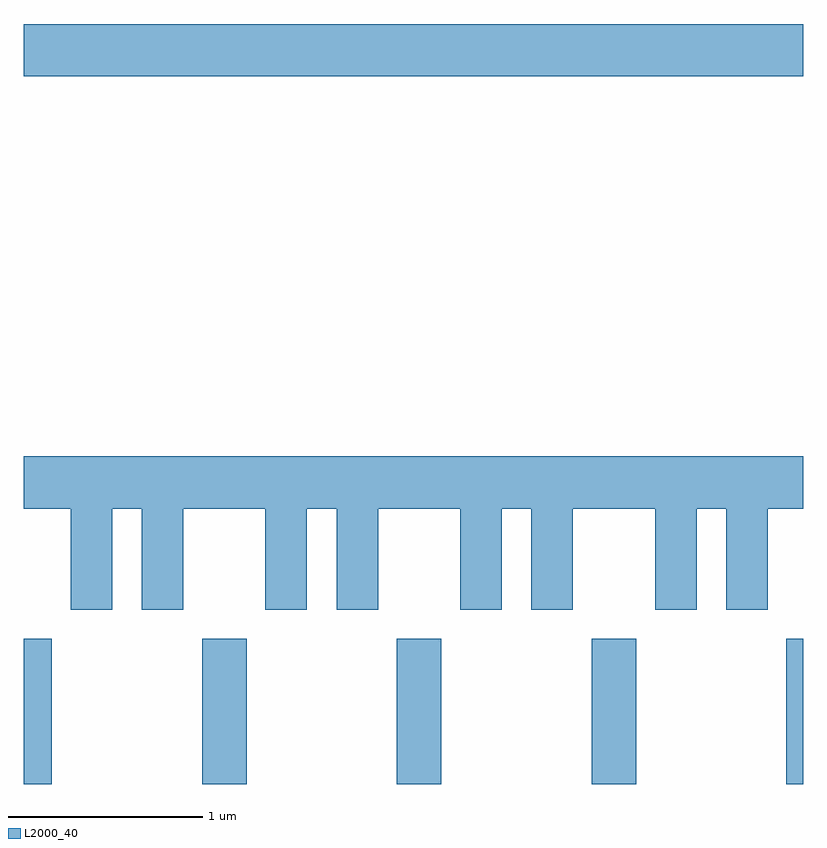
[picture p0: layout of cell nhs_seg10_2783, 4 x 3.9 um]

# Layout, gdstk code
import gdstk
lib = gdstk.Library(unit=1e-6, precision=1e-09)
def R(c, l, rs):  # rectangles x0, y0, x1, y1
    for r in rs: c.add(gdstk.rectangle(r[:2], r[2:], *l))
def A(c, l, x, y, w, h, nx, ny, dx, dy):  # array of equal rectangles
    R(c, l, [(x+i*dx, y+j*dy, x+i*dx+w, y+j*dy+h) for i in range(nx) for j in range(ny)])
def P(c, l, *ps):  # polygons
    for p in ps: c.add(gdstk.Polygon(p, *l))
L2000_40 = (2000, 40)

nhs_seg10_2783 = lib.new_cell('nhs_seg10_2783')
A(nhs_seg10_2783, L2000_40, 268.526, 2092.522, 0.228, 0.747, 3, 1, 1, 0)
R(nhs_seg10_2783, L2000_40, [(267.611,2092.522,267.754,2093.269), (271.526,2092.522,271.611,2093.269), (267.611,2096.156,271.611,2096.424)])
P(nhs_seg10_2783, L2000_40, [(267.611,2093.936),(267.851,2093.936),(267.851,2093.416),(268.064,2093.416),(268.064,2093.936),(268.216,2093.936),(268.216,2093.416),(268.429,2093.416),(268.429,2093.936),(268.851,2093.936),(268.851,2093.416),(269.064,2093.416),(269.064,2093.936),(269.216,2093.936),(269.216,2093.416),(269.429,2093.416),(269.429,2093.936),(269.851,2093.936),(269.851,2093.416),(270.064,2093.416),(270.064,2093.936),(270.216,2093.936),(270.216,2093.416),(270.429,2093.416),(270.429,2093.936),(270.851,2093.936),(270.851,2093.416),(271.064,2093.416),(271.064,2093.936),(271.216,2093.936),(271.216,2093.416),(271.429,2093.416),(271.429,2093.936),(271.611,2093.936),(271.611,2094.204),(267.611,2094.204)])

lib.write_gds('nhs_seg10_2783.gds')
